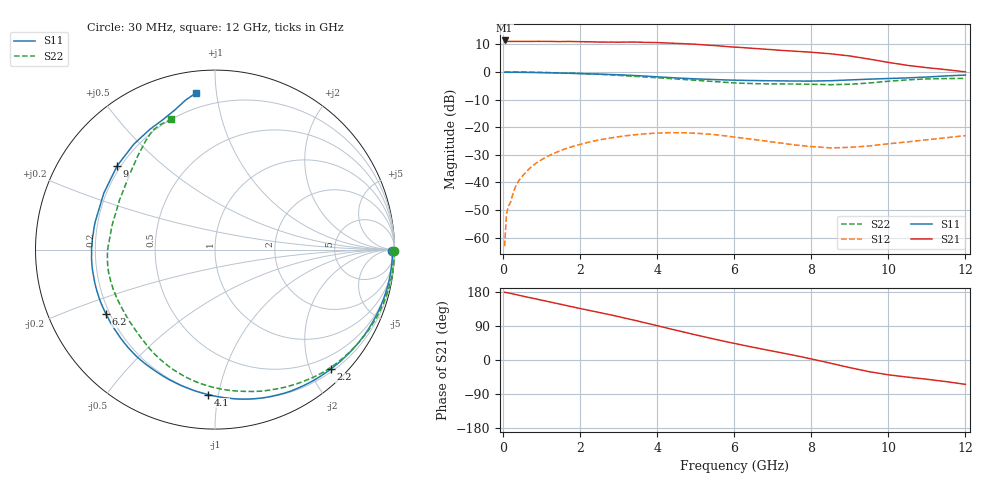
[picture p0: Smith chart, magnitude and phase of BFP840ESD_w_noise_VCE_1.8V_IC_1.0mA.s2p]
! Infineon Technologies  Discrete & RF Semiconductors
! BFP840ESD
! VCE =  1.8 V,  IC =  1.0 mA
! Common Emitter S-Parameters:  May 2012
# GHz  S  MA  R  50
!  f  S11  S21  S12  S22
! GHz  MAG  ANG  MAG  ANG  MAG  ANG  MAG  ANG
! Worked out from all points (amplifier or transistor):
!   93 points, 30 MHz to 12 GHz, reference 50 ohm
!   highest |S21| = 11.4 dB at 30 MHz (marker M1)
!   |S21| within 3 dB of that: start of sweep to 6.634 GHz
!   unconditionally stable (mu >= 1): 7.214 GHz to 11.05 GHz
!   at 1.1 GHz: K = 0.09, MSG = 21.0 dB, |S12| = -30.9 dB
!   at 4.2 GHz: K = 0.30, MSG = 16.3 dB, |S12| = -22.0 dB
!   at 12 GHz: K = 0.64, MSG = 11.6 dB, |S12| = -23.0 dB
!   lowest NFmin = 0.39 dB at 450 MHz
!   S11 on the Smith chart (normalised r, x): 30 MHz: open; 2.2 GHz: 0.25, -2.33; 4.1 GHz: 0.20, -0.93; 6.2 GHz: 0.19, -0.27; 9 GHz: 0.19, +0.36; 12 GHz: 0.11, +0.88
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0.03  0.9886 -0.6  3.725 178.7  0.0007 59.9  1 -0.6
0.08  0.9887 -1.6  3.541 177.8  0.0027 89.9  0.9991 -1.5
0.28  0.9875 -5.7  3.579 173.6  0.0073 83.7  0.9977 -5.5
0.43  0.9858 -8.7  3.577 170.2  0.0115 80.6  0.9961 -8.4
1.1  0.9704 -22.5  3.59 155.6  0.0286 68.8  0.9782 -21.6
1.7  0.9481 -35.2  3.578 142.2  0.0426 57.3  0.9517 -33.6
2.1  0.9311 -43.8  3.534 133.6  0.051 49.6  0.931 -41.7
2.2  0.9272 -46.0  3.522 131.5  0.0532 47.8  0.9252 -43.8
2.8  0.8987 -59.5  3.479 118.7  0.064 36.5  0.8832 -56.4
3.4  0.8625 -74.1  3.478 104.9  0.0728 25.2  0.8354 -70.1
4.1  0.8089 -92.7  3.381 87.9  0.0788 11.5  0.778 -87.4
4.7  0.7676 -109.7  3.247 73.3  0.0792 -0.2  0.7304 -102.3
5.2  0.7419 -123.8  3.101 61.5  0.076 -8.9  0.6915 -114.0
6.1  0.7074 -146.9  2.801 41.7  0.0649 -20.1  0.6303 -134.7
6.2  0.7056 -149.3  2.766 39.5  0.0636 -20.8  0.6257 -137.0
6.8  0.6953 -163.6  2.588 27.3  0.0563 -24.1  0.6106 -151.3
7.5  0.6879 179.3  2.397 13.4  0.0485 -23.7  0.6064 -167.6
8.5  0.6949 153.0  2.135 -8.5  0.0422 -14.8  0.5894 167.0
9  0.7179 139.4  1.949 -20.2  0.0432 -8.9  0.5992 152.6
9.5  0.7416 127.5  1.715 -30.8  0.0457 -4.7  0.6323 139.1
10.5  0.7818 111.4  1.317 -45.2  0.0543 -1.7  0.72 122.3
12  0.8796 96.8  1.006 -64.3  0.0704 -4.9  0.7648 108.6
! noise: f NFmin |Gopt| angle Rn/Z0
0.45  0.39  0.82  4  0.56
0.9  0.4  0.84  10  0.53
1.5  0.52  0.84  22  0.46
1.9  0.58  0.83  25  0.41
2.4  0.64  0.74  35  0.38
3.5  0.77  0.64  61  0.31
5.5  1.05  0.52  116  0.21
8  1.41  0.6  -154  0.05
10  1.71  0.68  -119  0.18
12  2.06  0.64  -89  0.43
